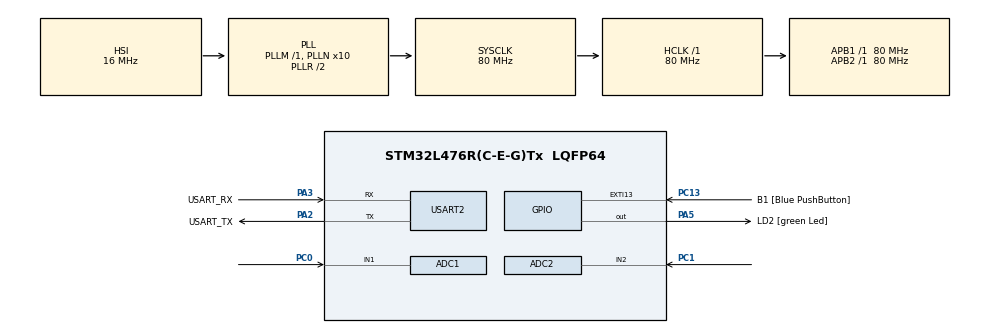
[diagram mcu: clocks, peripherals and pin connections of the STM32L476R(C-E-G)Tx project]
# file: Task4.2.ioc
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ADC1.Channel-0\#ChannelRegularConversion=ADC_CHANNEL_1
ADC1.NbrOfConversionFlag=1
ADC1.OffsetNumber-0\#ChannelRegularConversion=ADC_OFFSET_NONE
ADC1.Rank-0\#ChannelRegularConversion=1
ADC1.SamplingTime-0\#ChannelRegularConversion=ADC_SAMPLETIME_2CYCLES_5
ADC1.master=1
ADC2.Channel-1\#ChannelRegularConversion=ADC_CHANNEL_2
ADC2.NbrOfConversionFlag=1
ADC2.OffsetNumber-1\#ChannelRegularConversion=ADC_OFFSET_NONE
ADC2.Rank-1\#ChannelRegularConversion=1
ADC2.SamplingTime-1\#ChannelRegularConversion=ADC_SAMPLETIME_2CYCLES_5
Mcu.Family=STM32L4
Mcu.Name=STM32L476R(C-E-G)Tx
Mcu.Package=LQFP64
NVIC.PriorityGroup=NVIC_PRIORITYGROUP_4
PA13\ (JTMS-SWDIO).GPIO_Label=TMS
PA13\ (JTMS-SWDIO).Mode=Serial_Wire
PA13\ (JTMS-SWDIO).Signal=SYS_JTMS-SWDIO
PA14\ (JTCK-SWCLK).GPIO_Label=TCK
PA14\ (JTCK-SWCLK).Mode=Serial_Wire
PA14\ (JTCK-SWCLK).Signal=SYS_JTCK-SWCLK
PA2.GPIO_Label=USART_TX
PA2.GPIO_Mode=GPIO_MODE_AF_PP
PA2.GPIO_PuPd=GPIO_NOPULL
PA2.GPIO_Speed=GPIO_SPEED_FREQ_VERY_HIGH
PA2.Mode=Asynchronous
PA2.Signal=USART2_TX
PA3.GPIO_Label=USART_RX
PA3.GPIO_Mode=GPIO_MODE_AF_PP
PA3.GPIO_PuPd=GPIO_NOPULL
PA3.GPIO_Speed=GPIO_SPEED_FREQ_VERY_HIGH
PA3.Mode=Asynchronous
PA3.Signal=USART2_RX
PA5.GPIO_Label=LD2 [green Led]
PA5.GPIO_ModeDefaultOutputPP=GPIO_MODE_OUTPUT_PP
PA5.GPIO_PuPd=GPIO_NOPULL
PA5.GPIO_Speed=GPIO_SPEED_FREQ_LOW
PA5.Signal=GPIO_Output
PA8.Signal=S_TIM1_CH1
PB0.Signal=ADCx_IN15
PB3\ (JTDO-TRACESWO).GPIO_Label=SWO
PB3\ (JTDO-TRACESWO).Signal=SYS_JTDO-SWO
PC0.Signal=ADCx_IN1
PC1.Signal=ADCx_IN2
PC13.GPIO_Label=B1 [Blue PushButton]
PC13.GPIO_ModeDefaultEXTI=GPIO_MODE_IT_FALLING
PC13.GPIO_PuPd=GPIO_NOPULL
PC13.Signal=GPXTI13
PC14-OSC32_IN\ (PC14).Mode=LSE-External-Oscillator
PC14-OSC32_IN\ (PC14).Signal=RCC_OSC32_IN
PC15-OSC32_OUT\ (PC15).Mode=LSE-External-Oscillator
PC15-OSC32_OUT\ (PC15).Signal=RCC_OSC32_OUT
PH0-OSC_IN\ (PH0).Signal=RCC_OSC_IN
PH1-OSC_OUT\ (PH1).Signal=RCC_OSC_OUT
ProjectManager.HeapSize=0x200
ProjectManager.StackSize=0x400
ProjectManager.TargetToolchain=STM32CubeIDE
RCC.ADCFreq_Value=64000000
RCC.AHBFreq_Value=80000000
RCC.APB1Freq_Value=80000000
RCC.APB1TimFreq_Value=80000000
RCC.APB2Freq_Value=80000000
RCC.APB2TimFreq_Value=80000000
RCC.CortexFreq_Value=80000000
RCC.HCLKFreq_Value=80000000
RCC.HSE_VALUE=8000000
RCC.HSI_VALUE=16000000
RCC.MSI_VALUE=4000000
RCC.PLLN=10
RCC.PLLSourceVirtual=RCC_PLLSOURCE_HSI
RCC.PREFETCH_ENABLE=1
RCC.SYSCLKFreq_VALUE=80000000
RCC.SYSCLKSource=RCC_SYSCLKSOURCE_PLLCLK
RCC.USBFreq_Value=64000000
RCC.VCOOutputFreq_Value=160000000
SH.ADCx_IN1.0=ADC1_IN1,IN1-Single-Ended
SH.ADCx_IN1.1=ADC2_IN1
SH.ADCx_IN15.0=ADC1_IN15
SH.ADCx_IN2.0=ADC2_IN2,IN2-Single-Ended
SH.S_TIM1_CH1.0=TIM1_CH1
STMicroelectronics.X-CUBE-ALGOBUILD.1.3.0.LibraryCcDSPOoLibraryJjDSPOoLibrary=true
USART2.VirtualMode-Asynchronous=VM_ASYNC
VP_STMicroelectronics.X-CUBE-ALGOBUILD_VS_DSPOoLibraryJjLibrary_1.3.0_1.3.0.Mode=DSPOoLibraryJjLibrary
board=NUCLEO-L476RG

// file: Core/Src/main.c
/* USER CODE BEGIN Header */
/**
 ******************************************************************************
 * @file           : main.c
 * @brief          : Main program body
 ******************************************************************************
 * @attention
 *
 * Copyright (c) 2023 STMicroelectronics.
 * All rights reserved.
 *
 * This software is licensed under terms that can be found in the LICENSE file
 * in the root directory of this software component.
 * If no LICENSE file comes with this software, it is provided AS-IS.
 *
 ******************************************************************************
 */
/* USER CODE END Header */
#include "main.h"

/* USER CODE BEGIN Includes */
#include "arm_math.h"
/* USER CODE END Includes */

/* USER CODE BEGIN PD */
#define FFT_LENGTH 256
#define SAMPLING_RATE 16000
/* USER CODE END PD */

ADC_HandleTypeDef hadc1;
ADC_HandleTypeDef hadc2;

UART_HandleTypeDef huart2;

/* USER CODE BEGIN PV */
float32_t input_fft[FFT_LENGTH];
float32_t output_fft[FFT_LENGTH];
float32_t output_fft_mag[FFT_LENGTH / 2];
arm_rfft_fast_instance_f32 fft_instance;
float32_t frequency = 1000.0;
float32_t peak_freq;
/* USER CODE END PV */

void SystemClock_Config(void);
void PeriphCommonClock_Config(void);
static void MX_GPIO_Init(void);
static void MX_USART2_UART_Init(void);
static void MX_ADC1_Init(void);
static void MX_ADC2_Init(void);

int main(void)
{
  /* USER CODE BEGIN 1 */
	arm_rfft_fast_init_f32(&fft_instance, FFT_LENGTH);
  /* USER CODE END 1 */

  /* MCU Configuration--------------------------------------------------------*/

  /* Reset of all peripherals, Initializes the Flash interface and the Systick. */
  HAL_Init();

  /* Configure the system clock */
  SystemClock_Config();

/* Configure the peripherals common clocks */
  PeriphCommonClock_Config();

  /* Initialize all configured peripherals */
  MX_GPIO_Init();
  MX_USART2_UART_Init();
  MX_ADC1_Init();
  MX_ADC2_Init();

  /* Infinite loop */
 while (1)
 {

    /* USER CODE BEGIN 3 */
	 HAL_Delay(100);
	 for(int i = 0; i < FFT_LENGTH; i++)
	  {
	 	input_fft[i] = arm_sin_f32(2 * PI * frequency * i / SAMPLING_RATE);
	  }
	  arm_rfft_fast_f32(&fft_instance, input_fft, output_fft, 0);
	  arm_cmplx_mag_f32(output_fft, output_fft_mag, FFT_LENGTH/2);
	  for(int i = 0; i < FFT_LENGTH / 2; i++ )
	  {
	 	 peak_freq = ((i * SAMPLING_RATE) / FFT_LENGTH);
	 	 //printf("frequency %f Hz: %f \n", ((float32_t)(i * SAMPLING_RATE) / FFT_LENGTH), output_fft_mag[i]);
	  }
 }
  /* USER CODE END 3 */
}

void SystemClock_Config(void)
{
  RCC_OscInitTypeDef RCC_OscInitStruct = {0};
  RCC_ClkInitTypeDef RCC_ClkInitStruct = {0};

  /** Configure the main internal regulator output voltage
  */
  if (HAL_PWREx_ControlVoltageScaling(PWR_REGULATOR_VOLTAGE_SCALE1) != HAL_OK)
  {
    Error_Handler();
  }

  /** Initializes the RCC Oscillators according to the specified parameters
  * in the RCC_OscInitTypeDef structure.
  */
  RCC_OscInitStruct.OscillatorType = RCC_OSCILLATORTYPE_HSI;
  RCC_OscInitStruct.HSIState = RCC_HSI_ON;
  RCC_OscInitStruct.HSICalibrationValue = RCC_HSICALIBRATION_DEFAULT;
  RCC_OscInitStruct.PLL.PLLState = RCC_PLL_ON;
  RCC_OscInitStruct.PLL.PLLSource = RCC_PLLSOURCE_HSI;
  RCC_OscInitStruct.PLL.PLLM = 1;
  RCC_OscInitStruct.PLL.PLLN = 10;
  RCC_OscInitStruct.PLL.PLLP = RCC_PLLP_DIV7;
  RCC_OscInitStruct.PLL.PLLQ = RCC_PLLQ_DIV2;
  RCC_OscInitStruct.PLL.PLLR = RCC_PLLR_DIV2;
  if (HAL_RCC_OscConfig(&RCC_OscInitStruct) != HAL_OK)
  {
    Error_Handler();
  }

  /** Initializes the CPU, AHB and APB buses clocks
  */
  RCC_ClkInitStruct.ClockType = RCC_CLOCKTYPE_HCLK|RCC_CLOCKTYPE_SYSCLK
                              |RCC_CLOCKTYPE_PCLK1|RCC_CLOCKTYPE_PCLK2;
  RCC_ClkInitStruct.SYSCLKSource = RCC_SYSCLKSOURCE_PLLCLK;
  RCC_ClkInitStruct.AHBCLKDivider = RCC_SYSCLK_DIV1;
  RCC_ClkInitStruct.APB1CLKDivider = RCC_HCLK_DIV1;
  RCC_ClkInitStruct.APB2CLKDivider = RCC_HCLK_DIV1;

  if (HAL_RCC_ClockConfig(&RCC_ClkInitStruct, FLASH_LATENCY_4) != HAL_OK)
  {
    Error_Handler();
  }
}

void PeriphCommonClock_Config(void)
{
  RCC_PeriphCLKInitTypeDef PeriphClkInit = {0};

  /** Initializes the peripherals clock
  */
  PeriphClkInit.PeriphClockSelection = RCC_PERIPHCLK_ADC;
  PeriphClkInit.AdcClockSelection = RCC_ADCCLKSOURCE_PLLSAI1;
  PeriphClkInit.PLLSAI1.PLLSAI1Source = RCC_PLLSOURCE_HSI;
  PeriphClkInit.PLLSAI1.PLLSAI1M = 1;
  PeriphClkInit.PLLSAI1.PLLSAI1N = 8;
  PeriphClkInit.PLLSAI1.PLLSAI1P = RCC_PLLP_DIV7;
  PeriphClkInit.PLLSAI1.PLLSAI1Q = RCC_PLLQ_DIV2;
  PeriphClkInit.PLLSAI1.PLLSAI1R = RCC_PLLR_DIV2;
  PeriphClkInit.PLLSAI1.PLLSAI1ClockOut = RCC_PLLSAI1_ADC1CLK;
  if (HAL_RCCEx_PeriphCLKConfig(&PeriphClkInit) != HAL_OK)
  {
    Error_Handler();
  }
}

static void MX_ADC1_Init(void)
{

  ADC_MultiModeTypeDef multimode = {0};
  ADC_ChannelConfTypeDef sConfig = {0};

  /** Common config
  */
  hadc1.Instance = ADC1;
  hadc1.Init.ClockPrescaler = ADC_CLOCK_ASYNC_DIV1;
  hadc1.Init.Resolution = ADC_RESOLUTION_12B;
  hadc1.Init.DataAlign = ADC_DATAALIGN_RIGHT;
  hadc1.Init.ScanConvMode = ADC_SCAN_DISABLE;
  hadc1.Init.EOCSelection = ADC_EOC_SINGLE_CONV;
  hadc1.Init.LowPowerAutoWait = DISABLE;
  hadc1.Init.ContinuousConvMode = DISABLE;
  hadc1.Init.NbrOfConversion = 1;
  hadc1.Init.DiscontinuousConvMode = DISABLE;
  hadc1.Init.ExternalTrigConv = ADC_SOFTWARE_START;
  hadc1.Init.ExternalTrigConvEdge = ADC_EXTERNALTRIGCONVEDGE_NONE;
  hadc1.Init.DMAContinuousRequests = DISABLE;
  hadc1.Init.Overrun = ADC_OVR_DATA_PRESERVED;
  hadc1.Init.OversamplingMode = DISABLE;
  if (HAL_ADC_Init(&hadc1) != HAL_OK)
  {
    Error_Handler();
  }

  /** Configure the ADC multi-mode
  */
  multimode.Mode = ADC_MODE_INDEPENDENT;
  if (HAL_ADCEx_MultiModeConfigChannel(&hadc1, &multimode) != HAL_OK)
  {
    Error_Handler();
  }

  /** Configure Regular Channel
  */
  sConfig.Channel = ADC_CHANNEL_1;
  sConfig.Rank = ADC_REGULAR_RANK_1;
  sConfig.SamplingTime = ADC_SAMPLETIME_2CYCLES_5;
  sConfig.SingleDiff = ADC_SINGLE_ENDED;
  sConfig.OffsetNumber = ADC_OFFSET_NONE;
  sConfig.Offset = 0;
  if (HAL_ADC_ConfigChannel(&hadc1, &sConfig) != HAL_OK)
  {
    Error_Handler();
  }

}

static void MX_ADC2_Init(void)
{

  ADC_ChannelConfTypeDef sConfig = {0};

  /** Common config
  */
  hadc2.Instance = ADC2;
  hadc2.Init.ClockPrescaler = ADC_CLOCK_ASYNC_DIV1;
  hadc2.Init.Resolution = ADC_RESOLUTION_12B;
  hadc2.Init.DataAlign = ADC_DATAALIGN_RIGHT;
  hadc2.Init.ScanConvMode = ADC_SCAN_DISABLE;
  hadc2.Init.EOCSelection = ADC_EOC_SINGLE_CONV;
  hadc2.Init.LowPowerAutoWait = DISABLE;
  hadc2.Init.ContinuousConvMode = DISABLE;
  hadc2.Init.NbrOfConversion = 1;
  hadc2.Init.DiscontinuousConvMode = DISABLE;
  hadc2.Init.ExternalTrigConv = ADC_SOFTWARE_START;
  hadc2.Init.ExternalTrigConvEdge = ADC_EXTERNALTRIGCONVEDGE_NONE;
  hadc2.Init.DMAContinuousRequests = DISABLE;
  hadc2.Init.Overrun = ADC_OVR_DATA_PRESERVED;
  hadc2.Init.OversamplingMode = DISABLE;
  if (HAL_ADC_Init(&hadc2) != HAL_OK)
  {
    Error_Handler();
  }

  /** Configure Regular Channel
  */
  sConfig.Channel = ADC_CHANNEL_2;
  sConfig.Rank = ADC_REGULAR_RANK_1;
  sConfig.SamplingTime = ADC_SAMPLETIME_2CYCLES_5;
  sConfig.SingleDiff = ADC_SINGLE_ENDED;
  sConfig.OffsetNumber = ADC_OFFSET_NONE;
  sConfig.Offset = 0;
  if (HAL_ADC_ConfigChannel(&hadc2, &sConfig) != HAL_OK)
  {
    Error_Handler();
  }

}

static void MX_USART2_UART_Init(void)
{

  huart2.Instance = USART2;
  huart2.Init.BaudRate = 115200;
  huart2.Init.WordLength = UART_WORDLENGTH_8B;
  huart2.Init.StopBits = UART_STOPBITS_1;
  huart2.Init.Parity = UART_PARITY_NONE;
  huart2.Init.Mode = UART_MODE_TX_RX;
  huart2.Init.HwFlowCtl = UART_HWCONTROL_NONE;
  huart2.Init.OverSampling = UART_OVERSAMPLING_16;
  huart2.Init.OneBitSampling = UART_ONE_BIT_SAMPLE_DISABLE;
  huart2.AdvancedInit.AdvFeatureInit = UART_ADVFEATURE_NO_INIT;
  if (HAL_UART_Init(&huart2) != HAL_OK)
  {
    Error_Handler();
  }

}

static void MX_GPIO_Init(void)
{
  GPIO_InitTypeDef GPIO_InitStruct = {0};

  /* GPIO Ports Clock Enable */
  __HAL_RCC_GPIOC_CLK_ENABLE();
  __HAL_RCC_GPIOH_CLK_ENABLE();
  __HAL_RCC_GPIOA_CLK_ENABLE();
  __HAL_RCC_GPIOB_CLK_ENABLE();

  /*Configure GPIO pin Output Level */
  HAL_GPIO_WritePin(LD2_GPIO_Port, LD2_Pin, GPIO_PIN_RESET);

  /*Configure GPIO pin : B1_Pin */
  GPIO_InitStruct.Pin = B1_Pin;
  GPIO_InitStruct.Mode = GPIO_MODE_IT_FALLING;
  GPIO_InitStruct.Pull = GPIO_NOPULL;
  HAL_GPIO_Init(B1_GPIO_Port, &GPIO_InitStruct);

  /*Configure GPIO pin : LD2_Pin */
  GPIO_InitStruct.Pin = LD2_Pin;
  GPIO_InitStruct.Mode = GPIO_MODE_OUTPUT_PP;
  GPIO_InitStruct.Pull = GPIO_NOPULL;
  GPIO_InitStruct.Speed = GPIO_SPEED_FREQ_LOW;
  HAL_GPIO_Init(LD2_GPIO_Port, &GPIO_InitStruct);

  /*Configure GPIO pin : PA8 */
  GPIO_InitStruct.Pin = GPIO_PIN_8;
  GPIO_InitStruct.Mode = GPIO_MODE_AF_PP;
  GPIO_InitStruct.Pull = GPIO_NOPULL;
  GPIO_InitStruct.Speed = GPIO_SPEED_FREQ_LOW;
  GPIO_InitStruct.Alternate = GPIO_AF1_TIM1;
  HAL_GPIO_Init(GPIOA, &GPIO_InitStruct);

}

void Error_Handler(void)
{
 __disable_irq();
 while (1)
 {
 }
}
